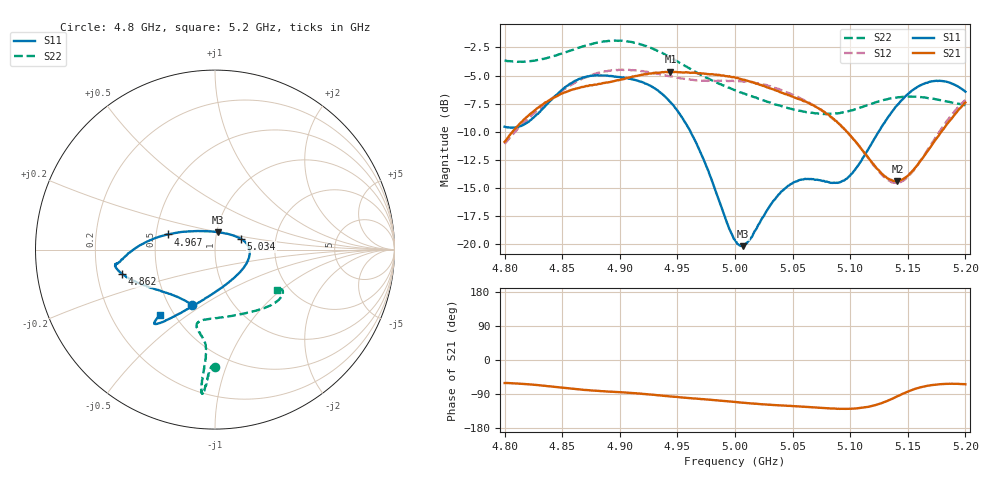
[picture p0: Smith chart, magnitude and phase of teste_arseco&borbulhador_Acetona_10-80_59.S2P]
! Network Analyzer HP8722D
! Hewlett-Packard
! Data name: Linha & Wilkinson
! Saver's name: Rodrigo Anjos
! Comments: Teste da utilização de aquisição
! continua pelo VNA HP8722D
! Time and date: 17/4/2025 14:51
!  Frequency  S11  S21  S12  S22
# HZ  S  MA R 50
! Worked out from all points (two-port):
!   401 points, 4.8 GHz to 5.2 GHz, reference 50 ohm
!   highest |S21| = -4.66 dB at 4.944 GHz (marker M1); lowest = -14.4 dB at 5.141 GHz (marker M2)
!   |S21| within 3 dB of the highest: 4.832 GHz to 5.068 GHz (236.6 MHz wide, 4.78 % of centre); 5.19767 GHz to end of sweep
!   lowest |S11| = -20.2 dB at 5.007 GHz (marker M3), VSWR 1.22, Z = 50.9 + j9.88 ohm
!   |S11| at or under -10 dB: 4.961 GHz to 5.125 GHz (163.2 MHz wide, 3.24 % of centre)
!   |S22| runs from -8.4 to -1.9 dB; largest |S21 - S12| = 0.87
!   S11 on the Smith chart (normalised r, x): 4.8 GHz: 0.65, -0.45; 4.862 GHz: 0.31, -0.12; 4.967 GHz: 0.58, +0.11; 5.034 GHz: 1.33, +0.16; 5.2 GHz: 0.42, -0.40
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4.8e9  0.3328 -113.0  0.285 -60.8  0.2788 -174.8  0.6561 -89.9
4.819e9  0.3459 -132.9  0.3671 -63.8  0.3553 -173.3  0.6504 -91.4
4.862e9  0.5352 -165.3  0.4921 -76.7  0.5277 -176.4  0.7417 -93.6
4.867e9  0.5487 -167.3  0.5003 -78.2  0.5434 -177.3  0.7558 -93.8
4.902e9  0.5507 -171.9  0.541 -85.3  0.5977 175.3  0.8033 -95.2
4.934e9  0.4781 -177.9  0.5793 -93.2  0.573 172.0  0.7183 -95.6
4.944e9  0.4286 177.5  0.5848 -96.1  0.5569 172.0  0.6767 -95.3
4.967e9  0.2771 162.3  0.5771 -101.9  0.5349 174.0  0.5789 -94.9
5e9  0.1043 103.3  0.5511 -110.8  0.5334 176.3  0.4843 -99.1
5.007e9  0.09782 79.1  0.5387 -112.7  0.5287 176.4  0.468 -100.7
5.014e9  0.1065 57.7  0.5276 -114.7  0.525 176.2  0.4559 -102.2
5.034e9  0.157 22.3  0.4868 -118.9  0.4972 175.1  0.4197 -103.5
5.05e9  0.1864 5.9  0.4539 -121.6  0.4617 174.4  0.3983 -99.8
5.067e9  0.1944 -12.4  0.4163 -124.8  0.4185 173.9  0.3842 -91.2
5.087e9  0.1872 -44.3  0.3544 -128.4  0.3535 173.5  0.3814 -75.9
5.097e9  0.1953 -65.1  0.3163 -128.9  0.3159 174.4  0.3885 -67.7
5.134e9  0.3735 -115.8  0.1943 -105.5  0.1912 -158.4  0.4437 -42.9
5.141e9  0.4163 -119.8  0.1904 -95.7  0.1872 -147.4  0.4496 -39.8
5.153e9  0.4793 -124.7  0.2086 -79.8  0.2065 -129.1  0.4534 -35.6
5.17e9  0.529 -128.4  0.2716 -66.5  0.2768 -112.6  0.445 -31.8
5.184e9  0.5272 -129.7  0.3419 -62.9  0.354 -107.1  0.4313 -30.8
5.2e9  0.4766 -130.2  0.4265 -64.1  0.4385 -106.2  0.4143 -33.1
